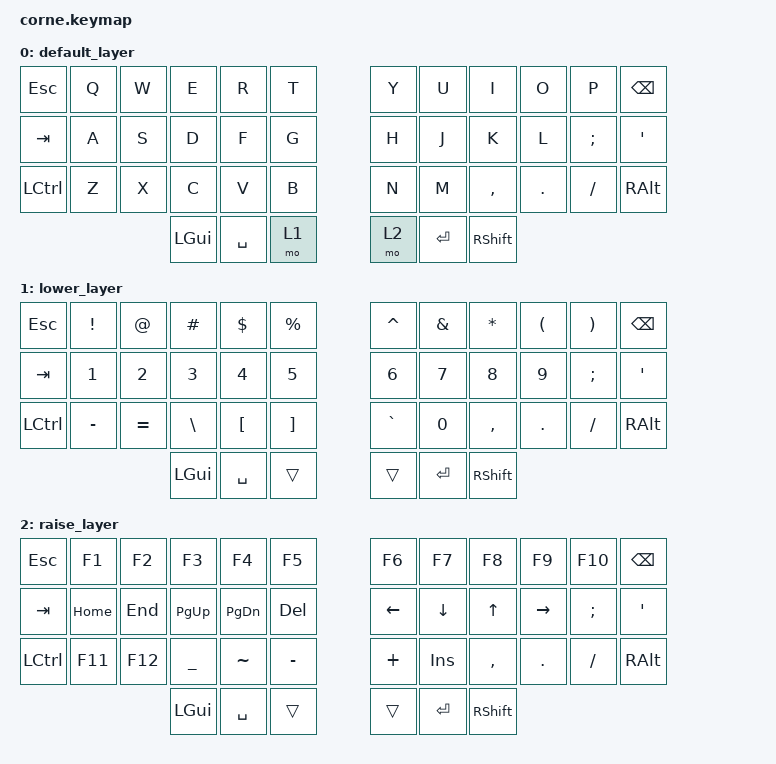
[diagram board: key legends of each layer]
/*
 * Copyright (c) 2020 The ZMK Contributors
 *
 * SPDX-License-Identifier: MIT
 */

#include <behaviors.dtsi>
#include <dt-bindings/zmk/keys.h>
#include <dt-bindings/zmk/bt.h>

/ {
        keymap {
                compatible = "zmk,keymap";

                default_layer {
// -----------------------------------------------------------------------------------------
// |  ESC |  Q  |  W  |  E  |  R  |  T  |   |  Y  |  U   |  I   |  O  |  P  | BSPC |
// | TAB  |  A  |  S  |  D  |  F  |  G  |   |  H  |  J   |  K   |  L  |  ;  |  '   |
// | CTRL |  Z  |  X  |  C  |  V  |  B  |   |  N  |  M   |  ,   |  .  |  /  | ALT  |
//                    | GUI | SPC | LWR |   | RSE | ENT  | SHFT |
                        bindings = <
   &kp ESC   &kp Q &kp W   &kp E &kp R &kp T   &kp Y &kp U   &kp I     &kp O   &kp P    &kp BSPC
   &kp TAB   &kp A &kp S   &kp D &kp F &kp G   &kp H &kp J   &kp K     &kp L   &kp SEMI &kp SQT
   &kp LCTRL &kp Z &kp X   &kp C &kp V &kp B   &kp N &kp M   &kp COMMA &kp DOT &kp FSLH &kp RALT
                  &kp LGUI &kp SPACE   &mo 1   &mo 2 &kp RET &kp RSHFT
                        >;
                };
                lower_layer {
// -----------------------------------------------------------------------------------------
// |  ESC |  !  |  @  |  #  |  $  |  %  |   |  ^  |  &  |  *   |  (  |  )  | BSPC |
// | TAB  |  1  |  2  |  3  |  4  |  5  |   |  6  |  7  |  8   |  9  |  ;  |  '   |
// | CTRL |  -  |  =  |  \  |  [  |  ]  |   |  `  |  0  |  ,   |  .  |  /  | ALT  |
//                    | GUI | SPC |     |   |     | ENT | SHFT |
                        bindings = <
   &kp ESC   &kp EXCL  &kp AT    &kp HASH &kp DLLR  &kp PRCNT   &kp CARET &kp AMPS &kp ASTRK &kp LPAR &kp RPAR  &kp BSPC
   &kp TAB   &kp N1    &kp N2    &kp N3   &kp N4    &kp N5      &kp N6    &kp N7   &kp N8    &kp N9   &kp SEMI  &kp SQT
   &kp LCTRL &kp MINUS &kp EQUAL &kp BSLH &kp LBKT  &kp RBKT    &kp GRAVE &kp N0   &kp COMMA &kp DOT  &kp SLASH &kp RALT
                                 &kp LGUI &kp SPACE &trans      &trans    &kp RET  &kp RSHFT
                        >;
                };

                raise_layer {
// -----------------------------------------------------------------------------------------
// | ESC  |  F1  | F2  |   F3   |    F4    | F5  |   |  F6  |  F7    |  F8  |  F9  | F10 | BSPC |
// | TAB  | HOME | END | PAGEUP | PAGEDOWN | DEL |   |  LFT |  DWN   |  UP  |  RGT |  ;  |  '   |
// | CTRL |  F11 | F12 |   _    |    ~     |  -  |   |   +  | INSERT |  ,   |  .   |  /  | ALT  |
//                     | GUI    | SPC      |     |   |      | ENT    | SHFT |
                        bindings = <
   &kp  ESC  &kp F1   &kp F2  &kp F3         &kp F4        &kp F5     &kp F6   &kp F7     &kp F8    &kp F9    &kp F10  &kp BSPC
   &kp TAB   &kp HOME &kp END &kp PAGE_UP    &kp PAGE_DOWN &kp DELETE &kp LEFT &kp DOWN   &kp UP    &kp RIGHT &kp SEMI &kp SQT
   &kp LCTRL &kp F11  &kp F12 &kp UNDERSCORE &kp TILDE     &kp MINUS  &kp PLUS &kp INSERT &kp COMMA &kp DOT   &kp FSLH &kp RALT
                              &kp LGUI       &kp SPACE     &trans     &trans   &kp RET    &kp RSHFT
                        >;
                };
        };
};
